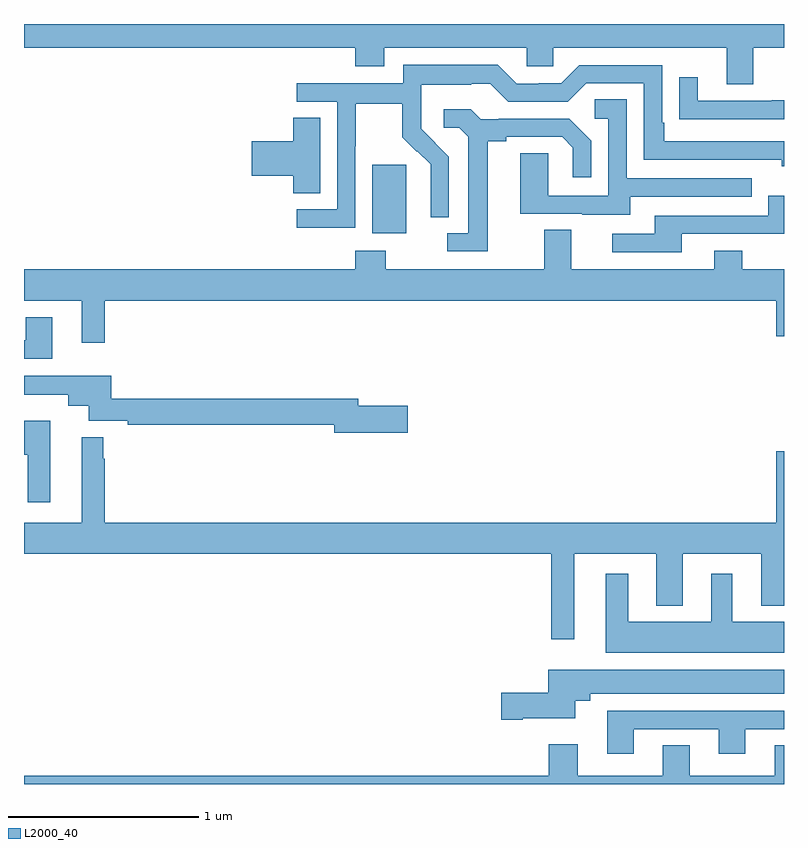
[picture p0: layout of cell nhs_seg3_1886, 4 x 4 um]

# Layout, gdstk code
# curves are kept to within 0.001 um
import gdstk
lib = gdstk.Library(unit=1e-6, precision=1e-09)
def R(c, l, rs):  # rectangles x0, y0, x1, y1
    for r in rs: c.add(gdstk.rectangle(r[:2], r[2:], *l))
def P(c, l, *ps):  # polygons
    for p in ps: c.add(gdstk.Polygon(p, *l))
L2000_40 = (2000, 40)

nhs_seg3_1886 = lib.new_cell('nhs_seg3_1886')
R(nhs_seg3_1886, L2000_40, [(210.833,673.298,211.012,673.659)])
P(nhs_seg3_1886, L2000_40, [(209,674.276),(210.743,674.276),(210.743,674.177),(210.895,674.177),(210.895,674.276),(211.647,674.276),(211.647,674.178),(211.785,674.178),(211.785,674.276),(212.699,674.276),(212.699,674.082),(212.839,674.082),(212.839,674.276),(213,674.276),(213,674.4),(209,674.4)],
  [(210.744,673.756),(210.747,673.756),(210.747,673.98),(210.991,673.98),(210.991,673.805),(211.068,673.728),(211.071,673.731),(211.142,673.661),(211.142,673.538),(211.14,673.538),(211.14,673.384),(211.236,673.384),(211.236,673.702),(211.09,673.85),(211.09,673.947),(211.092,673.947),(211.092,674.081),(211.355,674.081),(211.355,674.085),(211.455,674.085),(211.548,673.992),(211.863,673.992),(211.959,674.088),(212.262,674.088),(212.262,673.686),(212.987,673.686),(212.987,673.652),(213,673.652),(213,673.782),(212.371,673.782),(212.371,673.879),(212.358,673.879),(212.358,674.184),(211.923,674.184),(211.827,674.088),(211.709,674.088),(211.709,674.085),(211.593,674.085),(211.493,674.185),(210.996,674.185),(210.996,674.088),(210.435,674.088),(210.435,673.992),(210.648,673.992),(210.648,673.425),(210.435,673.425),(210.435,673.327),(210.744,673.327)],
  [(213,674),(212.935,674),(212.935,673.995),(212.545,673.995),(212.545,674.119),(212.449,674.119),(212.449,673.9),(212.551,673.9),(212.551,673.899),(213,673.899)],
  [(212.191,673.491),(212.831,673.491),(212.831,673.587),(212.172,673.587),(212.172,674.003),(212.004,674.003),(212.004,673.902),(212.076,673.902),(212.076,673.497),(211.758,673.497),(211.758,673.721),(211.613,673.721),(211.613,673.401),(211.937,673.401),(211.937,673.397),(212.191,673.397)],
  [(211.441,673.784),(211.537,673.784),(211.537,673.806),(211.832,673.806),(211.889,673.749),(211.889,673.593),(211.986,673.593),(211.986,673.786),(211.87,673.902),(211.498,673.902),(211.498,673.899),(211.404,673.899),(211.352,673.951),(211.209,673.951),(211.209,673.854),(211.29,673.854),(211.337,673.807),(211.337,673.299),(211.227,673.299),(211.227,673.203),(211.441,673.203)],
  [(210.559,673.907),(210.416,673.907),(210.416,673.784),(210.198,673.784),(210.198,673.601),(210.416,673.601),(210.416,673.51),(210.559,673.51)],
  [(212.461,673.296),(213,673.296),(213,673.495),(212.916,673.495),(212.916,673.392),(212.321,673.392),(212.321,673.296),(212.097,673.296),(212.097,673.2),(212.461,673.2)],
  [(209.425,672.944),(212.96,672.944),(212.96,672.756),(213,672.756),(213,673.108),(212.781,673.108),(212.781,673.207),(212.633,673.207),(212.633,673.108),(211.879,673.108),(211.879,673.316),(211.739,673.316),(211.739,673.108),(210.903,673.108),(210.903,673.207),(210.743,673.207),(210.743,673.108),(209,673.108),(209,672.944),(209.303,672.944),(209.303,672.723),(209.425,672.723)],
  [(209.149,672.856),(209.009,672.856),(209.009,672.735),(209,672.735),(209,672.639),(209.149,672.639)],
  [(211.021,672.392),(210.76,672.392),(210.76,672.428),(209.459,672.428),(209.459,672.55),(209,672.55),(209,672.449),(209.234,672.449),(209.234,672.392),(209.342,672.392),(209.342,672.312),(209.546,672.312),(209.546,672.292),(210.632,672.292),(210.632,672.25),(211.021,672.25)],
  [(209.137,672.313),(209,672.313),(209,672.134),(209.021,672.134),(209.021,671.883),(209.137,671.883)],
  [(211.897,671.612),(212.327,671.612),(212.327,671.339),(212.467,671.339),(212.467,671.612),(212.879,671.612),(212.879,671.339),(213,671.339),(213,672.151),(212.96,672.151),(212.96,671.776),(209.425,671.776),(209.425,672.113),(209.416,672.113),(209.416,672.226),(209.303,672.226),(209.303,671.776),(209,671.776),(209,671.612),(211.776,671.612),(211.776,671.163),(211.897,671.163)],
  [(213,671.254),(212.728,671.254),(212.728,671.506),(212.618,671.506),(212.618,671.254),(212.179,671.254),(212.179,671.506),(212.063,671.506),(212.063,671.09),(213,671.09)],
  [(211.624,670.745),(211.9,670.745),(211.9,670.838),(211.981,670.838),(211.981,670.874),(213,670.874),(213,671.002),(211.76,671.002),(211.76,670.88),(211.512,670.88),(211.512,670.738),(211.624,670.738)],
  [(212.209,670.689),(212.657,670.689),(212.657,670.56),(212.797,670.56),(212.797,670.689),(213,670.689),(213,670.785),(212.069,670.785),(212.069,670.56),(212.209,670.56)],
  [(213,670.604),(212.951,670.604),(212.951,670.444),(212.503,670.444),(212.503,670.604),(212.363,670.604),(212.363,670.444),(211.915,670.444),(211.915,670.609),(211.763,670.609),(211.763,670.444),(209,670.444),(209,670.4),(213,670.4)])

lib.write_gds('nhs_seg3_1886.gds')
